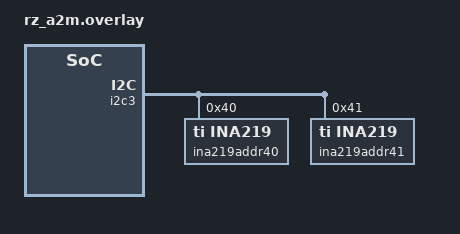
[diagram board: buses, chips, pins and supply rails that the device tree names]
/ {
	chosen {
		zephyr,i2c = &i2c3;
	};
};

&i2c3 {
	pinctrl-0 = <&i2c3_pins>;
	pinctrl-names = "default";
	status = "okay";

	ina219addr40: ina219@40 {
		status = "okay";
		compatible = "ti,ina219";
		reg = <0x40>;
		brng = <0>;
		pg = <0>;
		sadc = <13>;
		badc = <13>;
		shunt-milliohm = <100>;
		lsb-microamp = <10>;
	};


	ina219addr41: ina219@41 {
		status = "okay";
		compatible = "ti,ina219";
		reg = <0x41>;
		brng = <0>;
		pg = <0>;
		sadc = <13>;
		badc = <13>;
		shunt-milliohm = <100>;
		lsb-microamp = <10>;
	};
};
